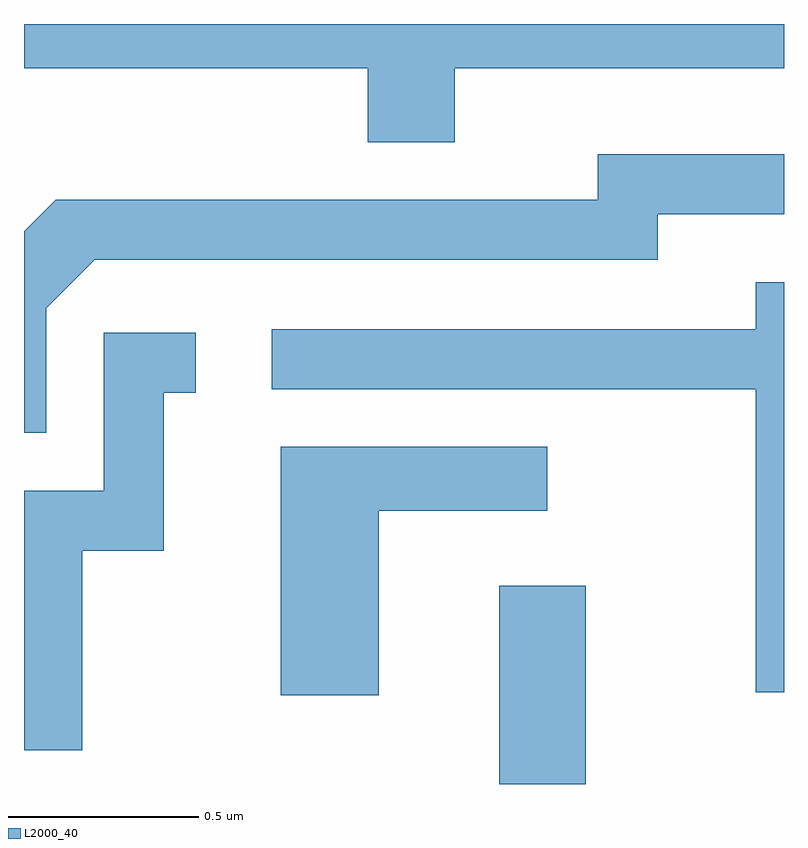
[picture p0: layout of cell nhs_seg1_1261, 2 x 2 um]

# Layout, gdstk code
import gdstk
lib = gdstk.Library(unit=1e-6, precision=1e-09)
def R(c, l, rs):  # rectangles x0, y0, x1, y1
    for r in rs: c.add(gdstk.rectangle(r[:2], r[2:], *l))
def P(c, l, *ps):  # polygons
    for p in ps: c.add(gdstk.Polygon(p, *l))
L2000_40 = (2000, 40)

nhs_seg1_1261 = lib.new_cell('nhs_seg1_1261')
R(nhs_seg1_1261, L2000_40, [(195.861,877.712,196.089,878.234)])
P(nhs_seg1_1261, L2000_40, [(195.744,879.596),(196.611,879.596),(196.611,879.712),(194.611,879.712),(194.611,879.596),(195.516,879.596),(195.516,879.401),(195.744,879.401)],
  [(194.669,878.964),(194.797,879.091),(196.279,879.091),(196.279,879.211),(196.611,879.211),(196.611,879.369),(196.121,879.369),(196.121,879.249),(194.694,879.249),(194.611,879.166),(194.611,878.636),(194.669,878.636)],
  [(196.611,879.033),(196.536,879.033),(196.536,878.909),(195.263,878.909),(195.263,878.751),(196.536,878.751),(196.536,877.953),(196.611,877.953)],
  [(194.764,878.326),(194.979,878.326),(194.979,878.741),(195.063,878.741),(195.063,878.899),(194.821,878.899),(194.821,878.484),(194.611,878.484),(194.611,877.801),(194.764,877.801)],
  [(195.544,878.431),(195.988,878.431),(195.988,878.599),(195.286,878.599),(195.286,877.946),(195.544,877.946)])

lib.write_gds('nhs_seg1_1261.gds')
